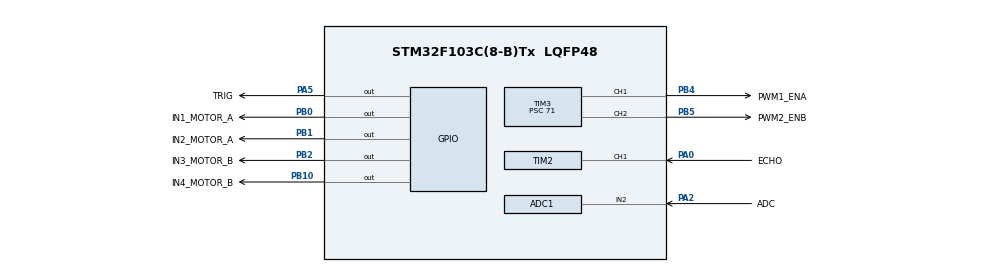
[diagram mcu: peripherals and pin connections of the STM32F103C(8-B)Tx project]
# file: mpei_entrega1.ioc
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ADC1.Channel-0\#ChannelRegularConversion=ADC_CHANNEL_2
ADC1.NbrOfConversionFlag=1
ADC1.Rank-0\#ChannelRegularConversion=1
ADC1.SamplingTime-0\#ChannelRegularConversion=ADC_SAMPLETIME_1CYCLE_5
ADC1.master=1
Mcu.Family=STM32F1
Mcu.Name=STM32F103C(8-B)Tx
Mcu.Package=LQFP48
NVIC.PriorityGroup=NVIC_PRIORITYGROUP_4
PA0-WKUP.GPIO_Label=ECHO
PA0-WKUP.Signal=S_TIM2_CH1_ETR
PA13.Mode=Serial_Wire
PA13.Signal=SYS_JTMS-SWDIO
PA14.Mode=Serial_Wire
PA14.Signal=SYS_JTCK-SWCLK
PA2.GPIO_Label=ADC
PA2.Signal=ADCx_IN2
PA5.GPIO_Label=TRIG
PA5.Signal=GPIO_Output
PB0.GPIO_Label=IN1_MOTOR_A
PB0.Signal=GPIO_Output
PB1.GPIO_Label=IN2_MOTOR_A
PB1.Signal=GPIO_Output
PB10.GPIO_Label=IN4_MOTOR_B
PB10.Signal=GPIO_Output
PB2.GPIO_Label=IN3_MOTOR_B
PB2.Signal=GPIO_Output
PB4.GPIO_Label=PWM1_ENA
PB4.Signal=S_TIM3_CH1
PB5.GPIO_Label=PWM2_ENB
PB5.Signal=S_TIM3_CH2
ProjectManager.HeapSize=0x200
ProjectManager.StackSize=0x400
ProjectManager.TargetToolchain=STM32CubeIDE
RCC.APB1Freq_Value=8000000
RCC.APB2Freq_Value=8000000
SH.ADCx_IN2.0=ADC1_IN2,IN2
SH.S_TIM2_CH1_ETR.0=TIM2_CH1,Input_Capture1_from_TI1
SH.S_TIM3_CH1.0=TIM3_CH1,PWM Generation1 CH1
SH.S_TIM3_CH2.0=TIM3_CH2,PWM Generation2 CH2
TIM2.Channel-Input_Capture1_from_TI1=TIM_CHANNEL_1
TIM3.Channel-PWM\ Generation1\ CH1=TIM_CHANNEL_1
TIM3.Channel-PWM\ Generation2\ CH2=TIM_CHANNEL_2
TIM3.Prescaler=71
board=custom

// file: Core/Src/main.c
/* USER CODE BEGIN Header */
/**
  ******************************************************************************
  * @file           : main.c
  * @brief          : Main program body
  ******************************************************************************
  * @attention
  *
  * Copyright (c) 2026 STMicroelectronics.
  * All rights reserved.
  *
  * This software is licensed under terms that can be found in the LICENSE file
  * in the root directory of this software component.
  * If no LICENSE file comes with this software, it is provided AS-IS.
  *
  ******************************************************************************
  */
/* USER CODE END Header */
#include "main.h"

/* USER CODE BEGIN PD */
#define DISTANCIA_10CM 10
#define DISTANCIA_20CM 20
#define DISTANCIA_40CM 40
/* USER CODE END PD */

ADC_HandleTypeDef hadc1;

TIM_HandleTypeDef htim2;
TIM_HandleTypeDef htim3;

/* USER CODE BEGIN PV */
volatile uint32_t echo_inicio = 0;
volatile uint32_t echo_final = 0;
volatile uint32_t echo_ancho = 0;

volatile uint8_t echo_estado = 0;
volatile uint8_t echo_listo = 0;

float distancia_actual = 0.0f;
/* USER CODE END PV */

void SystemClock_Config(void);
static void MX_GPIO_Init(void);
static void MX_TIM3_Init(void);
static void MX_ADC1_Init(void);
static void MX_TIM2_Init(void);
/* USER CODE BEGIN PFP */
void Motor_Parar(void);
void Motor_Avanzar(void);
void PWM_Configurar(uint8_t velocidad);
void Control_Ejecutar(void);
/* USER CODE END PFP */

/* USER CODE BEGIN 0 */
void Ultrasonido_Trigger(void)
{
    HAL_GPIO_WritePin(GPIOA, GPIO_PIN_5, GPIO_PIN_SET);

    __HAL_TIM_SET_COUNTER(&htim3, 0);
    while(__HAL_TIM_GET_COUNTER(&htim3) < 10);

    HAL_GPIO_WritePin(GPIOA, GPIO_PIN_5, GPIO_PIN_RESET);
}
void Ultrasonido_Procesar(void)
{
    if(echo_listo)
    {
        echo_listo = 0;
        distancia_actual = echo_ancho / 58.0f;
    }
}
void Control_Ejecutar(void)
{
    if(distancia_actual < DISTANCIA_10CM)
    {
        Motor_Parar();
        PWM_Configurar(0);
    }
    else if(distancia_actual < DISTANCIA_20CM)
    {
        Motor_Avanzar();
        PWM_Configurar(30);
    }
    else if(distancia_actual < DISTANCIA_40CM)
    {
        Motor_Avanzar();
        PWM_Configurar(45);
    }
    else
    {
        Motor_Avanzar();
        PWM_Configurar(60);
    }
}

/* USER CODE END 0 */

int main(void)
{

  /* MCU Configuration--------------------------------------------------------*/

  /* Reset of all peripherals, Initializes the Flash interface and the Systick. */
  HAL_Init();

  /* Configure the system clock */
  SystemClock_Config();

  /* Initialize all configured peripherals */
  MX_GPIO_Init();
  MX_TIM3_Init();
  MX_ADC1_Init();
  MX_TIM2_Init();
  /* USER CODE BEGIN 2 */
  HAL_TIM_IC_Start_IT(&htim2, TIM_CHANNEL_1);
  HAL_TIM_Base_Start(&htim2);
  /* USER CODE END 2 */

  /* Infinite loop */
  while (1)
  {
	  Ultrasonido_Trigger();
	  Ultrasonido_Procesar();
	  HAL_Delay(60);

  }
}

void SystemClock_Config(void)
{
  RCC_OscInitTypeDef RCC_OscInitStruct = {0};
  RCC_ClkInitTypeDef RCC_ClkInitStruct = {0};
  RCC_PeriphCLKInitTypeDef PeriphClkInit = {0};

  /** Initializes the RCC Oscillators according to the specified parameters
  * in the RCC_OscInitTypeDef structure.
  */
  RCC_OscInitStruct.OscillatorType = RCC_OSCILLATORTYPE_HSI;
  RCC_OscInitStruct.HSIState = RCC_HSI_ON;
  RCC_OscInitStruct.HSICalibrationValue = RCC_HSICALIBRATION_DEFAULT;
  RCC_OscInitStruct.PLL.PLLState = RCC_PLL_NONE;
  if (HAL_RCC_OscConfig(&RCC_OscInitStruct) != HAL_OK)
  {
    Error_Handler();
  }

  /** Initializes the CPU, AHB and APB buses clocks
  */
  RCC_ClkInitStruct.ClockType = RCC_CLOCKTYPE_HCLK|RCC_CLOCKTYPE_SYSCLK
                              |RCC_CLOCKTYPE_PCLK1|RCC_CLOCKTYPE_PCLK2;
  RCC_ClkInitStruct.SYSCLKSource = RCC_SYSCLKSOURCE_HSI;
  RCC_ClkInitStruct.AHBCLKDivider = RCC_SYSCLK_DIV1;
  RCC_ClkInitStruct.APB1CLKDivider = RCC_HCLK_DIV1;
  RCC_ClkInitStruct.APB2CLKDivider = RCC_HCLK_DIV1;

  if (HAL_RCC_ClockConfig(&RCC_ClkInitStruct, FLASH_LATENCY_0) != HAL_OK)
  {
    Error_Handler();
  }
  PeriphClkInit.PeriphClockSelection = RCC_PERIPHCLK_ADC;
  PeriphClkInit.AdcClockSelection = RCC_ADCPCLK2_DIV2;
  if (HAL_RCCEx_PeriphCLKConfig(&PeriphClkInit) != HAL_OK)
  {
    Error_Handler();
  }
}

static void MX_ADC1_Init(void)
{

  ADC_ChannelConfTypeDef sConfig = {0};

  /** Common config
  */
  hadc1.Instance = ADC1;
  hadc1.Init.ScanConvMode = ADC_SCAN_DISABLE;
  hadc1.Init.ContinuousConvMode = DISABLE;
  hadc1.Init.DiscontinuousConvMode = DISABLE;
  hadc1.Init.ExternalTrigConv = ADC_SOFTWARE_START;
  hadc1.Init.DataAlign = ADC_DATAALIGN_RIGHT;
  hadc1.Init.NbrOfConversion = 1;
  if (HAL_ADC_Init(&hadc1) != HAL_OK)
  {
    Error_Handler();
  }

  /** Configure Regular Channel
  */
  sConfig.Channel = ADC_CHANNEL_2;
  sConfig.Rank = ADC_REGULAR_RANK_1;
  sConfig.SamplingTime = ADC_SAMPLETIME_1CYCLE_5;
  if (HAL_ADC_ConfigChannel(&hadc1, &sConfig) != HAL_OK)
  {
    Error_Handler();
  }

}

static void MX_TIM2_Init(void)
{

  TIM_MasterConfigTypeDef sMasterConfig = {0};
  TIM_IC_InitTypeDef sConfigIC = {0};

  htim2.Instance = TIM2;
  htim2.Init.Prescaler = 0;
  htim2.Init.CounterMode = TIM_COUNTERMODE_UP;
  htim2.Init.Period = 65535;
  htim2.Init.ClockDivision = TIM_CLOCKDIVISION_DIV1;
  htim2.Init.AutoReloadPreload = TIM_AUTORELOAD_PRELOAD_DISABLE;
  if (HAL_TIM_IC_Init(&htim2) != HAL_OK)
  {
    Error_Handler();
  }
  sMasterConfig.MasterOutputTrigger = TIM_TRGO_RESET;
  sMasterConfig.MasterSlaveMode = TIM_MASTERSLAVEMODE_DISABLE;
  if (HAL_TIMEx_MasterConfigSynchronization(&htim2, &sMasterConfig) != HAL_OK)
  {
    Error_Handler();
  }
  sConfigIC.ICPolarity = TIM_INPUTCHANNELPOLARITY_RISING;
  sConfigIC.ICSelection = TIM_ICSELECTION_DIRECTTI;
  sConfigIC.ICPrescaler = TIM_ICPSC_DIV1;
  sConfigIC.ICFilter = 0;
  if (HAL_TIM_IC_ConfigChannel(&htim2, &sConfigIC, TIM_CHANNEL_1) != HAL_OK)
  {
    Error_Handler();
  }

}

static void MX_TIM3_Init(void)
{

  TIM_MasterConfigTypeDef sMasterConfig = {0};
  TIM_OC_InitTypeDef sConfigOC = {0};

  htim3.Instance = TIM3;
  htim3.Init.Prescaler = 71;
  htim3.Init.CounterMode = TIM_COUNTERMODE_UP;
  htim3.Init.Period = 65535;
  htim3.Init.ClockDivision = TIM_CLOCKDIVISION_DIV1;
  htim3.Init.AutoReloadPreload = TIM_AUTORELOAD_PRELOAD_DISABLE;
  if (HAL_TIM_PWM_Init(&htim3) != HAL_OK)
  {
    Error_Handler();
  }
  sMasterConfig.MasterOutputTrigger = TIM_TRGO_RESET;
  sMasterConfig.MasterSlaveMode = TIM_MASTERSLAVEMODE_DISABLE;
  if (HAL_TIMEx_MasterConfigSynchronization(&htim3, &sMasterConfig) != HAL_OK)
  {
    Error_Handler();
  }
  sConfigOC.OCMode = TIM_OCMODE_PWM1;
  sConfigOC.Pulse = 0;
  sConfigOC.OCPolarity = TIM_OCPOLARITY_HIGH;
  sConfigOC.OCFastMode = TIM_OCFAST_DISABLE;
  if (HAL_TIM_PWM_ConfigChannel(&htim3, &sConfigOC, TIM_CHANNEL_1) != HAL_OK)
  {
    Error_Handler();
  }
  if (HAL_TIM_PWM_ConfigChannel(&htim3, &sConfigOC, TIM_CHANNEL_2) != HAL_OK)
  {
    Error_Handler();
  }
  HAL_TIM_MspPostInit(&htim3);

}

static void MX_GPIO_Init(void)
{
  GPIO_InitTypeDef GPIO_InitStruct = {0};

  /* GPIO Ports Clock Enable */
  __HAL_RCC_GPIOA_CLK_ENABLE();
  __HAL_RCC_GPIOB_CLK_ENABLE();

  /*Configure GPIO pin Output Level */
  HAL_GPIO_WritePin(TRIG_GPIO_Port, TRIG_Pin, GPIO_PIN_RESET);

  /*Configure GPIO pin Output Level */
  HAL_GPIO_WritePin(GPIOB, IN1_MOTOR_A_Pin|IN2_MOTOR_A_Pin|IN3_MOTOR_B_Pin|IN4_MOTOR_B_Pin, GPIO_PIN_RESET);

  /*Configure GPIO pin : TRIG_Pin */
  GPIO_InitStruct.Pin = TRIG_Pin;
  GPIO_InitStruct.Mode = GPIO_MODE_OUTPUT_PP;
  GPIO_InitStruct.Pull = GPIO_NOPULL;
  GPIO_InitStruct.Speed = GPIO_SPEED_FREQ_LOW;
  HAL_GPIO_Init(TRIG_GPIO_Port, &GPIO_InitStruct);

  /*Configure GPIO pins : IN1_MOTOR_A_Pin IN2_MOTOR_A_Pin IN3_MOTOR_B_Pin IN4_MOTOR_B_Pin */
  GPIO_InitStruct.Pin = IN1_MOTOR_A_Pin|IN2_MOTOR_A_Pin|IN3_MOTOR_B_Pin|IN4_MOTOR_B_Pin;
  GPIO_InitStruct.Mode = GPIO_MODE_OUTPUT_PP;
  GPIO_InitStruct.Pull = GPIO_NOPULL;
  GPIO_InitStruct.Speed = GPIO_SPEED_FREQ_LOW;
  HAL_GPIO_Init(GPIOB, &GPIO_InitStruct);

}

/* USER CODE BEGIN 4 */
void HAL_TIM_IC_CaptureCallback(TIM_HandleTypeDef *htim2)
{
    if(htim2->Instance == TIM2 && htim2->Channel == HAL_TIM_ACTIVE_CHANNEL_1)
    {
        if(echo_estado == 0)
        {
            echo_inicio = HAL_TIM_ReadCapturedValue(htim2, TIM_CHANNEL_1);
            echo_estado = 1;

            __HAL_TIM_SET_CAPTUREPOLARITY(htim2, TIM_CHANNEL_1, TIM_INPUTCHANNELPOLARITY_FALLING);
        }
        else
        {
            echo_final = HAL_TIM_ReadCapturedValue(htim2, TIM_CHANNEL_1);

            if(echo_final >= echo_inicio)
                echo_ancho = echo_final - echo_inicio;
            else
                echo_ancho = (65535 - echo_inicio + 1) + echo_final;

            echo_listo = 1;
            echo_estado = 0;

            __HAL_TIM_SET_CAPTUREPOLARITY(htim2, TIM_CHANNEL_1, TIM_INPUTCHANNELPOLARITY_RISING);
        }
    }
}
/* USER CODE END 4 */

void Error_Handler(void)
{
  __disable_irq();
  while (1)
  {
  }
}
